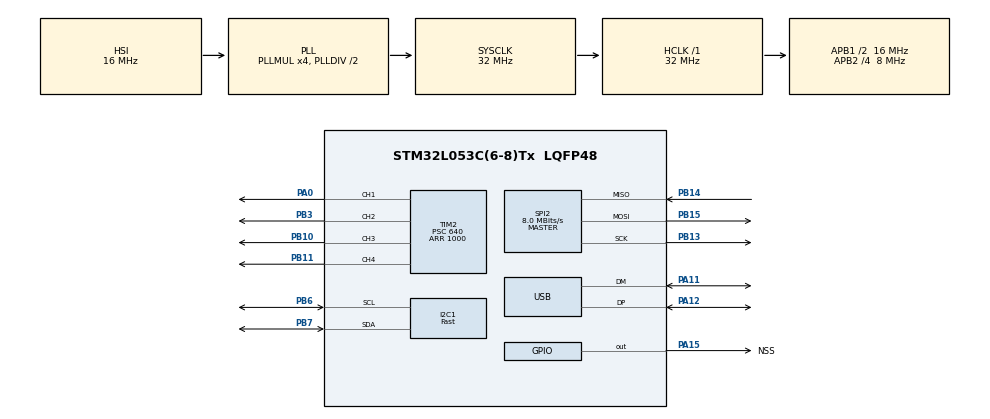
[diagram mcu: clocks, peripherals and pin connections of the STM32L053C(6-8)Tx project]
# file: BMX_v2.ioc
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I2C1.I2C_Speed_Mode=I2C_Fast
I2C1.Timing=0x0010061A
Mcu.Family=STM32L0
Mcu.Name=STM32L053C(6-8)Tx
Mcu.Package=LQFP48
NVIC.USB_IRQn=true\:0\:0\:false\:false\:true\:false\:true
PA0.Signal=S_TIM2_CH1
PA11.Mode=Device
PA11.Signal=USB_DM
PA12.Mode=Device
PA12.Signal=USB_DP
PA15.GPIO_Label=NSS
PA15.PinState=GPIO_PIN_SET
PA15.Signal=GPIO_Output
PB10.Signal=S_TIM2_CH3
PB11.Signal=S_TIM2_CH4
PB13.Mode=Full_Duplex_Master
PB13.Signal=SPI2_SCK
PB14.Mode=Full_Duplex_Master
PB14.Signal=SPI2_MISO
PB15.Mode=Full_Duplex_Master
PB15.Signal=SPI2_MOSI
PB3.Signal=S_TIM2_CH2
PB6.Mode=I2C
PB6.Signal=I2C1_SCL
PB7.Mode=I2C
PB7.Signal=I2C1_SDA
ProjectManager.HeapSize=0x200
ProjectManager.StackSize=0x400
ProjectManager.TargetToolchain=MDK-ARM V5.27
RCC.AHBFreq_Value=32000000
RCC.APB1CLKDivider=RCC_HCLK_DIV2
RCC.APB1Freq_Value=16000000
RCC.APB1TimFreq_Value=32000000
RCC.APB2CLKDivider=RCC_HCLK_DIV4
RCC.APB2Freq_Value=8000000
RCC.APB2TimFreq_Value=16000000
RCC.HCLKFreq_Value=32000000
RCC.HSE_VALUE=8000000
RCC.HSI16_VALUE=16000000
RCC.HSI48MClockSelection=RCC_USBCLKSOURCE_HSI48
RCC.HSI48_VALUE=48000000
RCC.HSI_VALUE=16000000
RCC.LSE_VALUE=32768
RCC.MSI_VALUE=2097000
RCC.PLLMUL=RCC_PLLMUL_4
RCC.SYSCLKFreq_VALUE=32000000
RCC.SYSCLKSource=RCC_SYSCLKSOURCE_PLLCLK
RCC.TimPrescaler=SYSTICK_CLKSOURCE_HCLK_DIV8
RCC.VCOOutputFreq_Value=64000000
SH.S_TIM2_CH1.0=TIM2_CH1,PWM Generation1 CH1
SH.S_TIM2_CH2.0=TIM2_CH2,PWM Generation2 CH2
SH.S_TIM2_CH3.0=TIM2_CH3,PWM Generation3 CH3
SH.S_TIM2_CH4.0=TIM2_CH4,PWM Generation4 CH4
SPI2.CalculateBaudRate=8.0 MBits/s
SPI2.Direction=SPI_DIRECTION_2LINES
SPI2.Mode=SPI_MODE_MASTER
SPI2.VirtualType=VM_MASTER
TIM2.Channel-PWM\ Generation1\ CH1=TIM_CHANNEL_1
TIM2.Channel-PWM\ Generation2\ CH2=TIM_CHANNEL_2
TIM2.Channel-PWM\ Generation3\ CH3=TIM_CHANNEL_3
TIM2.Channel-PWM\ Generation4\ CH4=TIM_CHANNEL_4
TIM2.Period=1000
TIM2.Prescaler=640
USB_DEVICE.CLASS_NAME_FS=CDC
USB_DEVICE.VirtualMode=Cdc
USB_DEVICE.VirtualModeFS=Cdc_FS
VP_TIM2_VS_ClockSourceINT.Mode=Internal
VP_USB_DEVICE_VS_USB_DEVICE_CDC_FS.Mode=CDC_FS
board=custom

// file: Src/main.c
/* USER CODE BEGIN Header */
/**
  ******************************************************************************
  * @file           : main.c
  * @brief          : Main program body
  ******************************************************************************
  * @attention
  *
  * PB7 - SDA
	* PB6 - SCL
	* PA0~PA4 - TIM2_CH1~TIM2_CH4
  ******************************************************************************
  */
/* USER CODE END Header */

#include "main.h"
#include "usb_device.h"

/* USER CODE BEGIN Includes */
#include "stm32l0xx_hal.h"
#include "stm32l0xx_it.h"
#include <stdio.h>
#include <math.h>
#include "tm_stm32_ahrs_imu.h"
#include "usbd_cdc_if.h"
#include <string.h>
#include "IMU_Control.h"
#include "Functions.h"
/* USER CODE END Includes */

I2C_HandleTypeDef hi2c1;

SPI_HandleTypeDef hspi2;

TIM_HandleTypeDef htim2;

/* USER CODE BEGIN PV */
uint8_t final[60];	// String array for CDC_Transmit
uint8_t tt; 				// Counter
float dt[2], Kp[2], Ki[2], Kd[2]; 	// PID Coefficients -- 1 ~ Servo, 2 ~ Motor
float servo_angle0, servo_angle1, motor_angle0, motor_angle1, motor_PID; // PWM period angles
float motor_power, servo_power;			// RC controller inputs
uint8_t stat;												// Status variable for testing
uint8_t z[5];												// RX Control parameters
/* USER CODE END PV */

void SystemClock_Config(void);
static void MX_GPIO_Init(void);
static void MX_I2C1_Init(void);
static void MX_TIM2_Init(void);
static void MX_SPI2_Init(void);
/* USER CODE BEGIN PFP */
void writeByte(uint8_t address, uint8_t subAddress, uint8_t data);
uint8_t readByte(uint8_t address, uint8_t subAddress);
void readBytes(uint8_t address, uint8_t subAddress, uint8_t count, uint8_t * dest);
/* USER CODE END PFP */

/* USER CODE BEGIN 0 */

// Write byte to I2c
void writeByte(uint8_t address, uint8_t subAddress, uint8_t data)
{
	uint8_t newAd;
	uint8_t mas[2] = {subAddress, data};
	uint8_t *point = mas;
	newAd = address << 0x01;
	HAL_I2C_Master_Transmit(&hi2c1, newAd, point, 2, 10);
}

// Read byte from I2C
uint8_t readByte(uint8_t address, uint8_t subAddress)
{
	uint8_t newAdd, newAdds;
	uint8_t data;
	newAdd = address << 0x01;
	newAdds = newAdd|0x01;
	HAL_I2C_Master_Transmit(&hi2c1, newAdd, &subAddress, 1, 10);
	HAL_I2C_Master_Receive(&hi2c1, newAdds, &data, 1, 10);
	return data;
}

// Read bytes from I2C
void readBytes(uint8_t address, uint8_t subAddress, uint8_t count, uint8_t * dest)
{
	uint8_t newAdd, newAdds;
	newAdd = address << 0x01;
	newAdds = newAdd|0x01;
	HAL_I2C_Master_Transmit(&hi2c1, newAdd, &subAddress, 1, 10);
	HAL_I2C_Master_Receive(&hi2c1, newAdds, dest, count, 10);
}

// PID controller function
float PID(float target, float current, uint8_t type){
	static float pre_e[4] = {0,0,0,0};
	static float integ[4] = {0,0,0,0};
	float er, deriv, out;

	er = target - current;
	if(fabsf(er) > 0.1){
		integ[type] = integ[type] + er*dt[type];
	}
	deriv = (er - pre_e[type])/dt[type];
	out = Kp[type]*er + Ki[type]*integ[type]+ Kd[type]*deriv;

	if(out > 45)
		out = 45;
	if (out < -45)
		out = -45;

	return out;
}
/* USER CODE END 0 */

int main(void)
{

  /* MCU Configuration--------------------------------------------------------*/

  /* Reset of all peripherals, Initializes the Flash interface and the Systick. */
  HAL_Init();

  /* Configure the system clock */
  SystemClock_Config();

  /* Initialize all configured peripherals */
  MX_GPIO_Init();
  MX_I2C1_Init();
  MX_TIM2_Init();
  MX_USB_DEVICE_Init();
  MX_SPI2_Init();
  /* USER CODE BEGIN 2 */

	SysTick_Config(SystemCoreClock/32000); // Set up systick period
	HAL_I2C_Init(&hi2c1);		// Start I2C bus comms
  //RFM96WRX_Config();
	//CDC_Init_FS(); 				// Start Virtual Link comms

	// Start 4 PWM channels
	HAL_TIM_PWM_Start(&htim2, TIM_CHANNEL_1);
	HAL_TIM_PWM_Start(&htim2, TIM_CHANNEL_2);
	HAL_TIM_PWM_Start(&htim2, TIM_CHANNEL_3);
	HAL_TIM_PWM_Start(&htim2, TIM_CHANNEL_4);

	//Setup and calibrate the IMU
	BMX_Setup();
	fastcompaccelBMX055();

	// Servo PID coef.
	dt[0] = 0;
	Kp[0] = 0;
	Ki[0] = 0;
	Kd[0] = 0;

	// Motor PID coef.
	dt[1] = 0.015;
	Kp[1] = 0.1;
	Ki[1] = 0.005;
	Kd[1] = 0.01;

	// Default inputs
	motor_power = 55;
	servo_power = 75;

	// AHRSIMU Sensor Fusion library struct and init
	TM_AHRSIMU_t heh;
	TM_AHRSIMU_Init(&heh, 200, 0.01, 70.8);
  /* USER CODE END 2 */

  /* Infinite loop */
  /* USER CODE BEGIN WHILE */
  while (1)
  {
		read_acc_gyro(); 	// Read IMU data

		if(tt > 100){ 		// Update every sensor fusion period
			TM_AHRSIMU_UpdateIMU(&heh, xGyro, yGyro, zGyro, xAccl, yAccl, zAccl);
			if(heh.Roll >= 0)
				heh.Roll = heh.Roll*(-1)+180;
			else
				heh.Roll = heh.Roll*(-1)-180;
			if(stat == 0){ 			// If testing status = 0
				//RFM96WRX_recieve(z);

				servo_angle0 = PID((15-z[0]), heh.Pitch, 0)+z[3];		// Servo_0 PID calc and PWM period.
				servo_angle1 = 155-servo_angle0;											// Servo_1 opposite pitch PWM calc.
				motor_PID = -PID((10-z[2]), heh.Roll, 1)/7;								// Motor PID calc.
				motor_angle0 = motor_PID+z[1];							// Motor_0 PWM period
				motor_angle1 = z[1]-motor_PID;							// Motor_1 PWM period
			}
		else if (stat == 1){	// If testing status = 1

		}

		// Transmit PWM period data to four TIM2 PWM channels
		htim2.Instance->CCR1 = servo_angle0;
		htim2.Instance->CCR2 = motor_angle0;
		htim2.Instance->CCR3 = servo_angle1;
		htim2.Instance->CCR4 = motor_angle0;

		tt = 0; // Period counter to zero

		// Transmit data as string through Virtual Link
		// sprintf(final, "P %5.2f R %5.2f Y %5.2f E", heh.Pitch, heh.Roll, heh.Yaw);
	  // CDC_Transmit_FS(final, 60);
		}
    /* USER CODE END WHILE */

  }
}

void SystemClock_Config(void)
{
  RCC_OscInitTypeDef RCC_OscInitStruct = {0};
  RCC_ClkInitTypeDef RCC_ClkInitStruct = {0};
  RCC_PeriphCLKInitTypeDef PeriphClkInit = {0};

  /** Configure the main internal regulator output voltage
  */
  __HAL_PWR_VOLTAGESCALING_CONFIG(PWR_REGULATOR_VOLTAGE_SCALE1);
  /** Initializes the CPU, AHB and APB busses clocks
  */
  RCC_OscInitStruct.OscillatorType = RCC_OSCILLATORTYPE_HSI|RCC_OSCILLATORTYPE_HSI48;
  RCC_OscInitStruct.HSIState = RCC_HSI_ON;
  RCC_OscInitStruct.HSICalibrationValue = RCC_HSICALIBRATION_DEFAULT;
  RCC_OscInitStruct.HSI48State = RCC_HSI48_ON;
  RCC_OscInitStruct.PLL.PLLState = RCC_PLL_ON;
  RCC_OscInitStruct.PLL.PLLSource = RCC_PLLSOURCE_HSI;
  RCC_OscInitStruct.PLL.PLLMUL = RCC_PLLMUL_4;
  RCC_OscInitStruct.PLL.PLLDIV = RCC_PLLDIV_2;
  if (HAL_RCC_OscConfig(&RCC_OscInitStruct) != HAL_OK)
  {
    Error_Handler();
  }
  /** Initializes the CPU, AHB and APB busses clocks
  */
  RCC_ClkInitStruct.ClockType = RCC_CLOCKTYPE_HCLK|RCC_CLOCKTYPE_SYSCLK
                              |RCC_CLOCKTYPE_PCLK1|RCC_CLOCKTYPE_PCLK2;
  RCC_ClkInitStruct.SYSCLKSource = RCC_SYSCLKSOURCE_PLLCLK;
  RCC_ClkInitStruct.AHBCLKDivider = RCC_SYSCLK_DIV1;
  RCC_ClkInitStruct.APB1CLKDivider = RCC_HCLK_DIV2;
  RCC_ClkInitStruct.APB2CLKDivider = RCC_HCLK_DIV4;

  if (HAL_RCC_ClockConfig(&RCC_ClkInitStruct, FLASH_LATENCY_1) != HAL_OK)
  {
    Error_Handler();
  }
  PeriphClkInit.PeriphClockSelection = RCC_PERIPHCLK_I2C1|RCC_PERIPHCLK_USB;
  PeriphClkInit.I2c1ClockSelection = RCC_I2C1CLKSOURCE_PCLK1;
  PeriphClkInit.UsbClockSelection = RCC_USBCLKSOURCE_HSI48;
  if (HAL_RCCEx_PeriphCLKConfig(&PeriphClkInit) != HAL_OK)
  {
    Error_Handler();
  }
}

static void MX_I2C1_Init(void)
{

  hi2c1.Instance = I2C1;
  hi2c1.Init.Timing = 0x0010061A;
  hi2c1.Init.OwnAddress1 = 0;
  hi2c1.Init.AddressingMode = I2C_ADDRESSINGMODE_7BIT;
  hi2c1.Init.DualAddressMode = I2C_DUALADDRESS_DISABLE;
  hi2c1.Init.OwnAddress2 = 0;
  hi2c1.Init.OwnAddress2Masks = I2C_OA2_NOMASK;
  hi2c1.Init.GeneralCallMode = I2C_GENERALCALL_DISABLE;
  hi2c1.Init.NoStretchMode = I2C_NOSTRETCH_DISABLE;
  if (HAL_I2C_Init(&hi2c1) != HAL_OK)
  {
    Error_Handler();
  }
  /** Configure Analogue filter
  */
  if (HAL_I2CEx_ConfigAnalogFilter(&hi2c1, I2C_ANALOGFILTER_ENABLE) != HAL_OK)
  {
    Error_Handler();
  }
  /** Configure Digital filter
  */
  if (HAL_I2CEx_ConfigDigitalFilter(&hi2c1, 0) != HAL_OK)
  {
    Error_Handler();
  }

}

static void MX_SPI2_Init(void)
{

  /* SPI2 parameter configuration*/
  hspi2.Instance = SPI2;
  hspi2.Init.Mode = SPI_MODE_MASTER;
  hspi2.Init.Direction = SPI_DIRECTION_2LINES;
  hspi2.Init.DataSize = SPI_DATASIZE_8BIT;
  hspi2.Init.CLKPolarity = SPI_POLARITY_LOW;
  hspi2.Init.CLKPhase = SPI_PHASE_1EDGE;
  hspi2.Init.NSS = SPI_NSS_SOFT;
  hspi2.Init.BaudRatePrescaler = SPI_BAUDRATEPRESCALER_2;
  hspi2.Init.FirstBit = SPI_FIRSTBIT_MSB;
  hspi2.Init.TIMode = SPI_TIMODE_DISABLE;
  hspi2.Init.CRCCalculation = SPI_CRCCALCULATION_DISABLE;
  hspi2.Init.CRCPolynomial = 7;
  if (HAL_SPI_Init(&hspi2) != HAL_OK)
  {
    Error_Handler();
  }

}

static void MX_TIM2_Init(void)
{

  TIM_ClockConfigTypeDef sClockSourceConfig = {0};
  TIM_MasterConfigTypeDef sMasterConfig = {0};
  TIM_OC_InitTypeDef sConfigOC = {0};

  htim2.Instance = TIM2;
  htim2.Init.Prescaler = 640;
  htim2.Init.CounterMode = TIM_COUNTERMODE_UP;
  htim2.Init.Period = 1000;
  htim2.Init.ClockDivision = TIM_CLOCKDIVISION_DIV1;
  htim2.Init.AutoReloadPreload = TIM_AUTORELOAD_PRELOAD_DISABLE;
  if (HAL_TIM_Base_Init(&htim2) != HAL_OK)
  {
    Error_Handler();
  }
  sClockSourceConfig.ClockSource = TIM_CLOCKSOURCE_INTERNAL;
  if (HAL_TIM_ConfigClockSource(&htim2, &sClockSourceConfig) != HAL_OK)
  {
    Error_Handler();
  }
  if (HAL_TIM_PWM_Init(&htim2) != HAL_OK)
  {
    Error_Handler();
  }
  sMasterConfig.MasterOutputTrigger = TIM_TRGO_RESET;
  sMasterConfig.MasterSlaveMode = TIM_MASTERSLAVEMODE_DISABLE;
  if (HAL_TIMEx_MasterConfigSynchronization(&htim2, &sMasterConfig) != HAL_OK)
  {
    Error_Handler();
  }
  sConfigOC.OCMode = TIM_OCMODE_PWM1;
  sConfigOC.Pulse = 0;
  sConfigOC.OCPolarity = TIM_OCPOLARITY_HIGH;
  sConfigOC.OCFastMode = TIM_OCFAST_DISABLE;
  if (HAL_TIM_PWM_ConfigChannel(&htim2, &sConfigOC, TIM_CHANNEL_1) != HAL_OK)
  {
    Error_Handler();
  }
  if (HAL_TIM_PWM_ConfigChannel(&htim2, &sConfigOC, TIM_CHANNEL_2) != HAL_OK)
  {
    Error_Handler();
  }
  if (HAL_TIM_PWM_ConfigChannel(&htim2, &sConfigOC, TIM_CHANNEL_3) != HAL_OK)
  {
    Error_Handler();
  }
  if (HAL_TIM_PWM_ConfigChannel(&htim2, &sConfigOC, TIM_CHANNEL_4) != HAL_OK)
  {
    Error_Handler();
  }
  HAL_TIM_MspPostInit(&htim2);

}

static void MX_GPIO_Init(void)
{
  GPIO_InitTypeDef GPIO_InitStruct = {0};

  /* GPIO Ports Clock Enable */
  __HAL_RCC_GPIOA_CLK_ENABLE();
  __HAL_RCC_GPIOB_CLK_ENABLE();

  /*Configure GPIO pin Output Level */
  HAL_GPIO_WritePin(NSS_GPIO_Port, NSS_Pin, GPIO_PIN_SET);

  /*Configure GPIO pin : NSS_Pin */
  GPIO_InitStruct.Pin = NSS_Pin;
  GPIO_InitStruct.Mode = GPIO_MODE_OUTPUT_PP;
  GPIO_InitStruct.Pull = GPIO_NOPULL;
  GPIO_InitStruct.Speed = GPIO_SPEED_FREQ_LOW;
  HAL_GPIO_Init(NSS_GPIO_Port, &GPIO_InitStruct);

}

void Error_Handler(void)
{
}

/************************ (C) COPYRIGHT STMicroelectronics *****END OF FILE****/
